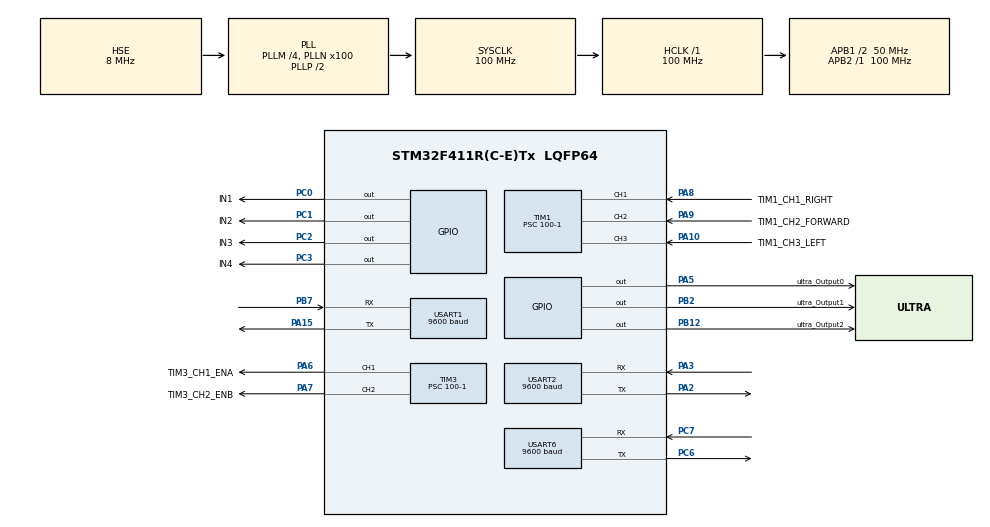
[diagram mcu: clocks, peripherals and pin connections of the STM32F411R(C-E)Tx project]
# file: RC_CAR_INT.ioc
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Mcu.Family=STM32F4
Mcu.Name=STM32F411R(C-E)Tx
Mcu.Package=LQFP64
NVIC.PriorityGroup=NVIC_PRIORITYGROUP_4
NVIC.TIM1_CC_IRQn=true\:0\:0\:false\:false\:true\:true\:true\:true
NVIC.TIM3_IRQn=true\:0\:0\:false\:false\:true\:true\:true\:true
NVIC.USART1_IRQn=true\:0\:0\:false\:false\:true\:true\:true\:true
NVIC.USART2_IRQn=true\:0\:0\:false\:false\:true\:true\:true\:true
PA10.GPIO_Label=TIM1_CH3_LEFT
PA10.Signal=S_TIM1_CH3
PA13.Mode=Serial_Wire
PA13.Signal=SYS_JTMS-SWDIO
PA14.Mode=Serial_Wire
PA14.Signal=SYS_JTCK-SWCLK
PA15.Mode=Asynchronous
PA15.Signal=USART1_TX
PA2.Mode=Asynchronous
PA2.Signal=USART2_TX
PA3.Mode=Asynchronous
PA3.Signal=USART2_RX
PA5.GPIO_Label=ultra_Output0
PA5.Signal=GPIO_Output
PA6.GPIO_Label=TIM3_CH1_ENA
PA6.Signal=S_TIM3_CH1
PA7.GPIO_Label=TIM3_CH2_ENB
PA7.Signal=S_TIM3_CH2
PA8.GPIO_Label=TIM1_CH1_RIGHT
PA8.Signal=S_TIM1_CH1
PA9.GPIO_Label=TIM1_CH2_FORWARD
PA9.Signal=S_TIM1_CH2
PB12.GPIO_Label=ultra_Output2
PB12.Signal=GPIO_Output
PB2.GPIO_Label=ultra_Output1
PB2.Signal=GPIO_Output
PB7.Mode=Asynchronous
PB7.Signal=USART1_RX
PC0.GPIO_Label=IN1
PC0.Signal=GPIO_Output
PC1.GPIO_Label=IN2
PC1.Signal=GPIO_Output
PC2.GPIO_Label=IN3
PC2.Signal=GPIO_Output
PC3.GPIO_Label=IN4
PC3.Signal=GPIO_Output
PC6.Mode=Asynchronous
PC6.Signal=USART6_TX
PC7.Mode=Asynchronous
PC7.Signal=USART6_RX
PH0\ -\ OSC_IN.Mode=HSE-External-Oscillator
PH0\ -\ OSC_IN.Signal=RCC_OSC_IN
PH1\ -\ OSC_OUT.Mode=HSE-External-Oscillator
PH1\ -\ OSC_OUT.Signal=RCC_OSC_OUT
ProjectManager.HeapSize=0x200
ProjectManager.StackSize=0x400
ProjectManager.TargetToolchain=STM32CubeIDE
RCC.48MHZClocksFreq_Value=50000000
RCC.AHBFreq_Value=100000000
RCC.APB1CLKDivider=RCC_HCLK_DIV2
RCC.APB1Freq_Value=50000000
RCC.APB1TimFreq_Value=100000000
RCC.APB2Freq_Value=100000000
RCC.APB2TimFreq_Value=100000000
RCC.CortexFreq_Value=100000000
RCC.HCLKFreq_Value=100000000
RCC.HSE_VALUE=8000000
RCC.HSI_VALUE=16000000
RCC.LSE_VALUE=32768
RCC.PLLM=4
RCC.PLLN=100
RCC.PLLSourceVirtual=RCC_PLLSOURCE_HSE
RCC.SYSCLKFreq_VALUE=100000000
RCC.SYSCLKSource=RCC_SYSCLKSOURCE_PLLCLK
RCC.VCOOutputFreq_Value=200000000
SH.S_TIM1_CH1.0=TIM1_CH1,Input_Capture1_from_TI1
SH.S_TIM1_CH2.0=TIM1_CH2,Input_Capture2_from_TI2
SH.S_TIM1_CH3.0=TIM1_CH3,Input_Capture3_from_TI3
SH.S_TIM3_CH1.0=TIM3_CH1,PWM Generation1 CH1
SH.S_TIM3_CH2.0=TIM3_CH2,PWM Generation2 CH2
TIM1.Channel-Input_Capture1_from_TI1=TIM_CHANNEL_1
TIM1.Channel-Input_Capture2_from_TI2=TIM_CHANNEL_2
TIM1.Channel-Input_Capture3_from_TI3=TIM_CHANNEL_3
TIM1.ICFilter_CH1=4
TIM1.ICFilter_CH2=4
TIM1.ICFilter_CH3=4
TIM1.Prescaler=100-1
TIM11.Prescaler=100-1
TIM3.Channel-PWM\ Generation1\ CH1=TIM_CHANNEL_1
TIM3.Channel-PWM\ Generation2\ CH2=TIM_CHANNEL_2
TIM3.Period=1000-1
TIM3.Prescaler=100-1
USART1.BaudRate=9600
USART1.VirtualMode=VM_ASYNC
USART2.BaudRate=9600
USART2.VirtualMode=VM_ASYNC
USART6.BaudRate=9600
USART6.VirtualMode=VM_ASYNC
VP_TIM11_VS_ClockSourceINT.Mode=Enable_Timer
VP_TIM1_VS_ClockSourceINT.Mode=Internal
board=custom

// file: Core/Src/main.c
/* USER CODE BEGIN Header */
/**
 ******************************************************************************
 * @file           : main.c
 * @brief          : Main program body
 ******************************************************************************
 * @attention
 *
 * Copyright (c) 2025 STMicroelectronics.
 * All rights reserved.
 *
 * This software is licensed under terms that can be found in the LICENSE file
 * in the root directory of this software component.
 * If no LICENSE file comes with this software, it is provided AS-IS.
 *
 ******************************************************************************
 */
/* USER CODE END Header */
#include "main.h"
#include "tim.h"
#include "usart.h"
#include "gpio.h"

/* USER CODE BEGIN Includes */

#include "stdbool.h"
#include "string.h"
#include "stdio.h"
#include "stdlib.h"

#include "rc_control.h"
#include "ultrasonic.h"
#include "joystick_pairing.h"
#include "delay_us.h"
#include "mode.h"
#include "automobility.h"

/* USER CODE END Includes */

/* USER CODE BEGIN PD */

#define PKT_LEN   			8				// 아이폰 조이스틱 버튼 헥사코드 패킷
#define SOF       			0xFF			// 첫 번째 패킷 값이 FF로 고정

#define ULTRASONIC_DETECTING_TIME 60

/* USER CODE END PD */

/* USER CODE BEGIN PM */

int _write(int file, unsigned char* p, int len)
{
	HAL_StatusTypeDef status = HAL_UART_Transmit(&huart2, p, len, 100);
	return (status == HAL_OK ? len : 0);
}

/* USER CODE END PM */

/* USER CODE BEGIN PV */

// 조이스틱 버퍼
static uint8_t rx1, rx2;	  	// rx1 USART1 / rx2 USART2
static uint8_t pkt[PKT_LEN];  	// 프레임 버퍼
static uint8_t pidx = 0;      	// 수신 인덱스

static uint8_t lastReadTime = 0;

/* USER CODE END PV */

void SystemClock_Config(void);
/* USER CODE BEGIN PFP */

// 아이폰 블루투스 감지된 값 처리 콜백함수
void HAL_UART_RxCpltCallback(UART_HandleTypeDef *huart)
{
	if (huart == &huart1)
	{
		uint8_t c = rx1;

		if (pidx == 0)
		{
			if (c != SOF)
			{
				HAL_UART_Receive_IT(&huart1, &rx1, 1);
				return;
			}
			pkt[pidx++] = c;
		}
		else
		{
			pkt[pidx++] = c;
			if (pidx == PKT_LEN)
			{
				uint16_t buttons = (uint16_t)pkt[6] | ((uint16_t)pkt[7] << 8);
				onPressJoyStickKey(buttons);
				pidx = 0;
			}
		}
		HAL_UART_Receive_IT(&huart1, &rx1, 1);
	}
}

/* USER CODE END PFP */

int main(void)
{

	/* MCU Configuration--------------------------------------------------------*/

	/* Reset of all peripherals, Initializes the Flash interface and the Systick. */
	HAL_Init();

	/* Configure the system clock */
	SystemClock_Config();

	/* Initialize all configured peripherals */
	MX_GPIO_Init();
	MX_TIM3_Init();
	MX_USART1_UART_Init();
	MX_USART2_UART_Init();
	MX_TIM11_Init();
	MX_TIM1_Init();
	MX_USART6_UART_Init();
	/* USER CODE BEGIN 2 */

	// 바퀴 제어
	HAL_TIM_PWM_Start(&htim3, TIM_CHANNEL_1);
	HAL_TIM_PWM_Start(&htim3, TIM_CHANNEL_2);

	// 초음파 센서 제어
	HAL_TIM_Base_Start(&htim11);
	HAL_TIM_Base_Start(&htim1);

	HAL_TIM_IC_Start_IT(&htim1, TIM_CHANNEL_1);
	HAL_TIM_IC_Start_IT(&htim1, TIM_CHANNEL_2);
	HAL_TIM_IC_Start_IT(&htim1, TIM_CHANNEL_3);

	// 블루투스 모듈연결 AT command
	HAL_UART_Receive_IT(&huart1, &rx1, sizeof(rx1));
	HAL_UART_Receive_IT(&huart2, &rx2, sizeof(rx2));

	// 초기 속도 설정

	/* USER CODE END 2 */

	/* Infinite loop */
	/* USER CODE BEGIN WHILE */
	while (1)
	{
		uint32_t currentTime = HAL_GetTick();

		// 60ms마다 센서 측정
		if(currentTime - lastReadTime >= ULTRASONIC_DETECTING_TIME)
		{
			getRightTrigger();
			getMiddleTrigger();
			getLeftTrigger();
			lastReadTime = currentTime;
		}

        switch(mode_get())
        {
            case MODE_JOYSTICK:
                // 조이스틱 모드: UART 콜백에서 처리
                // 여기서는 특별히 할 일 없음
                break;

            case MODE_AUTOMOBILITY:
                // 자율주행 실행
                autonomobility_run();
                break;
        }

		/* USER CODE END WHILE */

	}
}

void SystemClock_Config(void)
{
	RCC_OscInitTypeDef RCC_OscInitStruct = {0};
	RCC_ClkInitTypeDef RCC_ClkInitStruct = {0};

	/** Configure the main internal regulator output voltage
	 */
	__HAL_RCC_PWR_CLK_ENABLE();
	__HAL_PWR_VOLTAGESCALING_CONFIG(PWR_REGULATOR_VOLTAGE_SCALE1);

	/** Initializes the RCC Oscillators according to the specified parameters
	 * in the RCC_OscInitTypeDef structure.
	 */
	RCC_OscInitStruct.OscillatorType = RCC_OSCILLATORTYPE_HSE;
	RCC_OscInitStruct.HSEState = RCC_HSE_ON;
	RCC_OscInitStruct.PLL.PLLState = RCC_PLL_ON;
	RCC_OscInitStruct.PLL.PLLSource = RCC_PLLSOURCE_HSE;
	RCC_OscInitStruct.PLL.PLLM = 4;
	RCC_OscInitStruct.PLL.PLLN = 100;
	RCC_OscInitStruct.PLL.PLLP = RCC_PLLP_DIV2;
	RCC_OscInitStruct.PLL.PLLQ = 4;
	if (HAL_RCC_OscConfig(&RCC_OscInitStruct) != HAL_OK)
	{
		Error_Handler();
	}

	/** Initializes the CPU, AHB and APB buses clocks
	 */
	RCC_ClkInitStruct.ClockType = RCC_CLOCKTYPE_HCLK|RCC_CLOCKTYPE_SYSCLK
			|RCC_CLOCKTYPE_PCLK1|RCC_CLOCKTYPE_PCLK2;
	RCC_ClkInitStruct.SYSCLKSource = RCC_SYSCLKSOURCE_PLLCLK;
	RCC_ClkInitStruct.AHBCLKDivider = RCC_SYSCLK_DIV1;
	RCC_ClkInitStruct.APB1CLKDivider = RCC_HCLK_DIV2;
	RCC_ClkInitStruct.APB2CLKDivider = RCC_HCLK_DIV1;

	if (HAL_RCC_ClockConfig(&RCC_ClkInitStruct, FLASH_LATENCY_3) != HAL_OK)
	{
		Error_Handler();
	}
}

void Error_Handler(void)
{
	__disable_irq();
	while (1)
	{
	}
}
